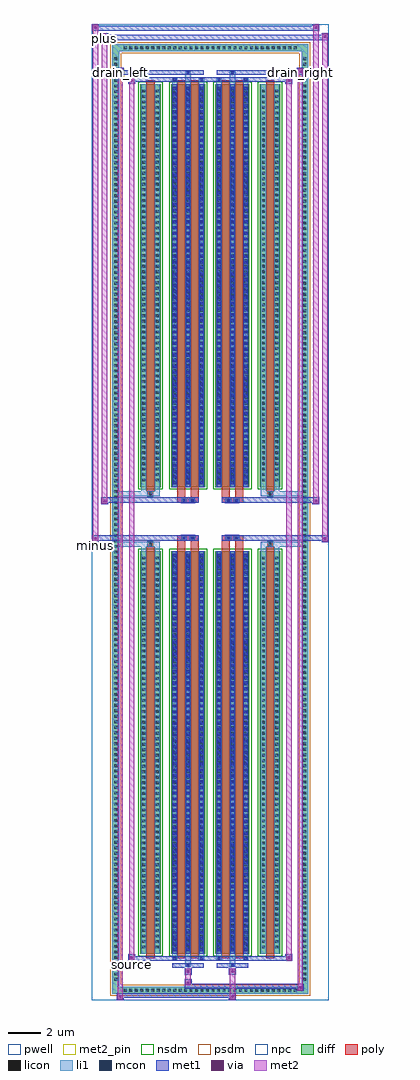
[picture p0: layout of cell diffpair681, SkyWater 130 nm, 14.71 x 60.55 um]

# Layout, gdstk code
import gdstk
lib = gdstk.Library(unit=1e-6, precision=5e-09)
def R(c, l, rs):  # rectangles x0, y0, x1, y1
    for r in rs: c.add(gdstk.rectangle(r[:2], r[2:], *l))
def A(c, l, x, y, w, h, nx, ny, dx, dy):  # array of equal rectangles
    R(c, l, [(x+i*dx, y+j*dy, x+i*dx+w, y+j*dy+h) for i in range(nx) for j in range(ny)])
def P(c, l, *ps):  # polygons
    for p in ps: c.add(gdstk.Polygon(p, *l))
pwell = (64, 44)
diff = (65, 20)
poly = (66, 20)
licon = (66, 44)
li1 = (67, 20)
mcon = (67, 44)
met1 = (68, 20)
via = (68, 44)
met2_pin = (69, 16)
met2 = (69, 20)
nsdm = (93, 44)
psdm = (94, 20)
npc = (95, 20)

diffpair681 = lib.new_cell('diffpair681')
R(diffpair681, pwell, [(-7.34,-29.84,7.34,30.71), (-4.66,-28.03,-0.01,-0.805), (0.01,-28.03,4.66,-0.805), (-4.66,0.805,-0.01,28.03), (0.01,0.805,4.66,28.03)])
A(diffpair681, diff, -5.475, -29.44, 0.41, 0.41, 32, 2, 0.34, 58.47)
A(diffpair681, diff, -6.07, -28.765, 0.41, 0.41, 1, 169, 0, 0.34)
A(diffpair681, diff, 5.66, -28.765, 0.41, 0.41, 1, 169, 0, 0.34)
R(diffpair681, diff, [(-5.475,-29.44,5.475,-29.03), (-6.07,-28.765,-5.66,28.765), (5.66,-28.765,6.07,28.765), (-4.35,-26.985,-3.07,-1.985), (-2.43,-26.985,-0.32,-1.985), (0.32,-26.985,2.43,-1.985), (3.07,-26.985,4.35,-1.985), (-4.35,1.985,-3.07,26.985), (-2.43,1.985,-0.32,26.985), (0.32,1.985,2.43,26.985), (3.07,1.985,4.35,26.985), (-5.475,29.03,5.475,29.44)])
P(diffpair681, diff, [(6.07,29.44),(-6.07,29.44),(-6.07,-29.03),(-5.66,-29.03),(-5.66,29.03),(5.66,29.03),(5.66,-29.03),(-5.66,-29.03),(-6.07,-29.03),(-6.07,-29.44),(6.07,-29.44)])
R(diffpair681, poly, [(-3.96,-27.235,-3.46,-1.735), (-2.04,-27.235,-1.54,-1.735), (-1.21,-27.235,-0.71,-1.735), (0.71,-27.235,1.21,-1.735), (1.54,-27.235,2.04,-1.735), (3.46,-27.235,3.96,-1.735), (-3.875,-1.735,-3.545,-1.405), (-3.875,-1.735,-3.545,-1.405), (-2.04,-1.735,-1.54,-1.335), (-1.21,-1.735,-0.71,-1.335), (0.71,-1.735,1.21,-1.335), (1.54,-1.735,2.04,-1.335), (3.545,-1.735,3.875,-1.405), (3.545,-1.735,3.875,-1.405), (-2.04,-1.335,-0.71,-1.005), (-1.79,-1.335,-1.46,-1.005), (-1.29,-1.335,-0.96,-1.005), (0.71,-1.335,2.04,-1.005), (0.96,-1.335,1.29,-1.005), (1.46,-1.335,1.79,-1.005), (-2.04,1.005,-0.71,1.335), (-1.79,1.005,-1.46,1.335), (-1.29,1.005,-0.96,1.335), (0.71,1.005,2.04,1.335), (0.96,1.005,1.29,1.335), (1.46,1.005,1.79,1.335), (-2.04,1.335,-1.54,1.735), (-1.21,1.335,-0.71,1.735), (0.71,1.335,1.21,1.735), (1.54,1.335,2.04,1.735), (-3.875,1.405,-3.545,1.735), (-3.875,1.405,-3.545,1.735), (3.545,1.405,3.875,1.735), (3.545,1.405,3.875,1.735), (-3.96,1.735,-3.46,27.235), (-2.04,1.735,-1.54,27.235), (-1.21,1.735,-0.71,27.235), (0.71,1.735,1.21,27.235), (1.54,1.735,2.04,27.235), (3.46,1.735,3.96,27.235)])
A(diffpair681, licon, -5.355, -29.32, 0.17, 0.17, 32, 2, 0.34, 58.47)
A(diffpair681, licon, -5.95, -28.645, 0.17, 0.17, 1, 169, 0, 0.34)
A(diffpair681, licon, 5.78, -28.645, 0.17, 0.17, 1, 169, 0, 0.34)
A(diffpair681, licon, -4.21, -26.64, 0.17, 0.17, 1, 72, 0, 0.34)
A(diffpair681, licon, -3.38, -26.64, 0.17, 0.17, 1, 72, 0, 0.34)
A(diffpair681, licon, -2.29, -26.64, 0.17, 0.17, 3, 72, 0.83, 0.34)
A(diffpair681, licon, 0.46, -26.64, 0.17, 0.17, 3, 72, 0.83, 0.34)
A(diffpair681, licon, 3.21, -26.64, 0.17, 0.17, 1, 72, 0, 0.34)
A(diffpair681, licon, 4.04, -26.64, 0.17, 0.17, 1, 72, 0, 0.34)
A(diffpair681, licon, -4.21, 2.33, 0.17, 0.17, 1, 72, 0, 0.34)
A(diffpair681, licon, -3.38, 2.33, 0.17, 0.17, 1, 72, 0, 0.34)
A(diffpair681, licon, -2.29, 2.33, 0.17, 0.17, 3, 72, 0.83, 0.34)
A(diffpair681, licon, 0.46, 2.33, 0.17, 0.17, 3, 72, 0.83, 0.34)
A(diffpair681, licon, 3.21, 2.33, 0.17, 0.17, 1, 72, 0, 0.34)
A(diffpair681, licon, 4.04, 2.33, 0.17, 0.17, 1, 72, 0, 0.34)
R(diffpair681, licon, [(-3.795,-1.655,-3.625,-1.485), (3.625,-1.655,3.795,-1.485), (-1.71,-1.255,-1.54,-1.085), (-1.21,-1.255,-1.04,-1.085), (1.04,-1.255,1.21,-1.085), (1.54,-1.255,1.71,-1.085), (-1.71,1.085,-1.54,1.255), (-1.21,1.085,-1.04,1.255), (1.04,1.085,1.21,1.255), (1.54,1.085,1.71,1.255), (-3.795,1.485,-3.625,1.655), (3.625,1.485,3.795,1.655)])
A(diffpair681, li1, -5.435, -29.4, 0.33, 0.33, 32, 2, 0.34, 58.47)
A(diffpair681, li1, -6.03, -28.725, 0.33, 0.33, 1, 169, 0, 0.34)
A(diffpair681, li1, 5.7, -28.725, 0.33, 0.33, 1, 169, 0, 0.34)
A(diffpair681, li1, -2.37, -26.985, 0.33, 25, 3, 2, 0.83, 28.97)
A(diffpair681, li1, 0.38, -26.985, 0.33, 25, 3, 2, 0.83, 28.97)
A(diffpair681, li1, -2.29, -26.81, 0.17, 0.17, 3, 69, 0.83, 0.36)
A(diffpair681, li1, -2.29, -26.81, 0.17, 24.65, 3, 2, 0.83, 28.97)
A(diffpair681, li1, 0.46, -26.81, 0.17, 0.17, 3, 69, 0.83, 0.36)
A(diffpair681, li1, 0.46, -26.81, 0.17, 24.65, 3, 2, 0.83, 28.97)
A(diffpair681, li1, -4.29, -26.72, 0.33, 0.33, 1, 72, 0, 0.34)
A(diffpair681, li1, -3.46, -26.72, 0.33, 0.33, 1, 72, 0, 0.34)
A(diffpair681, li1, -2.37, -26.72, 0.33, 0.33, 3, 72, 0.83, 0.34)
A(diffpair681, li1, 0.38, -26.72, 0.33, 0.33, 3, 72, 0.83, 0.34)
A(diffpair681, li1, 3.13, -26.72, 0.33, 0.33, 1, 72, 0, 0.34)
A(diffpair681, li1, 3.96, -26.72, 0.33, 0.33, 1, 72, 0, 0.34)
A(diffpair681, li1, -2.29, 2.16, 0.17, 0.17, 3, 69, 0.83, 0.36)
A(diffpair681, li1, 0.46, 2.16, 0.17, 0.17, 3, 69, 0.83, 0.36)
A(diffpair681, li1, -4.29, 2.25, 0.33, 0.33, 1, 72, 0, 0.34)
A(diffpair681, li1, -3.46, 2.25, 0.33, 0.33, 1, 72, 0, 0.34)
A(diffpair681, li1, -2.37, 2.25, 0.33, 0.33, 3, 72, 0.83, 0.34)
A(diffpair681, li1, 0.38, 2.25, 0.33, 0.33, 3, 72, 0.83, 0.34)
A(diffpair681, li1, 3.13, 2.25, 0.33, 0.33, 1, 72, 0, 0.34)
A(diffpair681, li1, 3.96, 2.25, 0.33, 0.33, 1, 72, 0, 0.34)
R(diffpair681, li1, [(-6.07,-29.44,-5.66,-29.03), (-6.07,-29.44,-5.66,-29.03), (-5.66,-29.44,5.66,-29.03), (5.66,-29.44,6.07,-29.03), (5.66,-29.44,6.07,-29.03), (-6.07,-29.03,-5.66,29.03), (5.66,-29.03,6.07,29.03), (-1.54,-27.79,-1.21,-26.985), (-1.46,-27.79,-1.29,-27.62), (1.21,-27.79,1.54,-26.985), (1.29,-27.79,1.46,-27.62), (-2.37,-27.36,-2.04,-26.985), (-2.29,-27.36,-2.12,-27.19), (-0.71,-27.36,-0.38,-26.985), (-0.63,-27.36,-0.46,-27.19), (0.38,-27.36,0.71,-26.985), (0.46,-27.36,0.63,-27.19), (2.04,-27.36,2.37,-26.985), (2.12,-27.36,2.29,-27.19), (-4.29,-26.985,-3.96,-1.985), (-3.46,-26.985,-3.13,-1.985), (3.13,-26.985,3.46,-1.985), (3.96,-26.985,4.29,-1.985), (-4.29,-1.985,-3.96,-1.405), (-3.46,-1.985,-3.13,-1.405), (3.13,-1.985,3.46,-1.405), (3.96,-1.985,4.29,-1.405), (-6.07,-1.735,-3.875,-1.405), (-4.29,-1.735,-3.875,-1.405), (-3.875,-1.735,-3.545,-1.405), (-3.545,-1.735,-3.13,-1.405), (3.13,-1.735,3.545,-1.405), (3.545,-1.735,3.875,-1.405), (3.545,-1.735,6.07,-1.405), (3.875,-1.735,4.29,-1.405), (-1.79,-1.335,-1.46,-1.005), (-1.29,-1.335,-0.96,-1.005), (0.96,-1.335,1.29,-1.005), (1.46,-1.335,1.79,-1.005), (-1.79,1.005,-1.46,1.335), (-1.29,1.005,-0.96,1.335), (0.96,1.005,1.29,1.335), (1.46,1.005,1.79,1.335), (-6.07,1.405,-3.875,1.735), (-4.29,1.405,-3.875,1.735), (-4.29,1.405,-3.96,1.985), (-3.875,1.405,-3.545,1.735), (-3.545,1.405,-3.13,1.735), (-3.46,1.405,-3.13,1.985), (3.13,1.405,3.545,1.735), (3.13,1.405,3.46,1.985), (3.545,1.405,3.875,1.735), (3.545,1.405,6.07,1.735), (3.875,1.405,4.29,1.735), (3.96,1.405,4.29,1.985), (-4.29,1.985,-3.96,26.985), (-3.46,1.985,-3.13,26.985), (3.13,1.985,3.46,26.985), (3.96,1.985,4.29,26.985), (-2.37,26.985,-2.04,27.36), (-1.54,26.985,-1.21,27.79), (-0.71,26.985,-0.38,27.36), (0.38,26.985,0.71,27.36), (1.21,26.985,1.54,27.79), (2.04,26.985,2.37,27.36), (-2.29,27.19,-2.12,27.36), (-0.63,27.19,-0.46,27.36), (0.46,27.19,0.63,27.36), (2.12,27.19,2.29,27.36), (-1.46,27.62,-1.29,27.79), (1.29,27.62,1.46,27.79), (-6.07,29.03,-5.66,29.44), (-6.07,29.03,-5.66,29.44), (-5.66,29.03,5.66,29.44), (5.66,29.03,6.07,29.44), (5.66,29.03,6.07,29.44)])
A(diffpair681, mcon, -2.29, -26.81, 0.17, 0.17, 3, 69, 0.83, 0.36)
A(diffpair681, mcon, 0.46, -26.81, 0.17, 0.17, 3, 69, 0.83, 0.36)
A(diffpair681, mcon, -2.29, 2.16, 0.17, 0.17, 3, 69, 0.83, 0.36)
A(diffpair681, mcon, 0.46, 2.16, 0.17, 0.17, 3, 69, 0.83, 0.36)
R(diffpair681, mcon, [(-1.46,-27.79,-1.29,-27.62), (1.29,-27.79,1.46,-27.62), (-2.29,-27.36,-2.12,-27.19), (-0.63,-27.36,-0.46,-27.19), (0.46,-27.36,0.63,-27.19), (2.12,-27.36,2.29,-27.19), (-1.71,-1.255,-1.54,-1.085), (-1.21,-1.255,-1.04,-1.085), (1.04,-1.255,1.21,-1.085), (1.54,-1.255,1.71,-1.085), (-1.71,1.085,-1.54,1.255), (-1.21,1.085,-1.04,1.255), (1.04,1.085,1.21,1.255), (1.54,1.085,1.71,1.255), (-2.29,27.19,-2.12,27.36), (-0.63,27.19,-0.46,27.36), (0.46,27.19,0.63,27.36), (2.12,27.19,2.29,27.36), (-1.46,27.62,-1.29,27.79), (1.29,27.62,1.46,27.79)])
A(diffpair681, met1, -2.35, -26.985, 0.29, 25, 3, 2, 0.83, 28.97)
A(diffpair681, met1, 0.4, -26.985, 0.29, 25, 3, 2, 0.83, 28.97)
A(diffpair681, met1, -2.35, -26.87, 0.29, 0.29, 3, 69, 0.83, 0.36)
A(diffpair681, met1, 0.4, -26.87, 0.29, 0.29, 3, 69, 0.83, 0.36)
A(diffpair681, met1, -2.35, 2.1, 0.29, 0.29, 3, 69, 0.83, 0.36)
A(diffpair681, met1, 0.4, 2.1, 0.29, 0.29, 3, 69, 0.83, 0.36)
R(diffpair681, met1, [(-5.8,-29.84,-5.37,-29.41), (1.16,-29.84,1.59,-29.41), (-5.8,-29.7,1.59,-29.41), (5.37,-29.27,5.8,-28.84), (-1.59,-29.13,5.8,-28.84), (-1.59,-28.99,-1.16,-28.56), (-1.59,-28.28,-1.16,-27.85), (1.16,-28.28,1.59,-27.85), (-2.35,-27.85,-0.4,-27.56), (-1.52,-27.85,-1.23,-27.56), (0.4,-27.85,2.35,-27.56), (1.23,-27.85,1.52,-27.56), (-5.09,-27.42,-4.66,-26.99), (-5.09,-27.42,-2.35,-27.13), (-2.35,-27.42,-2.06,-27.13), (-2.35,-27.42,-0.4,-27.13), (-0.69,-27.42,-0.4,-27.13), (-0.4,-27.42,0.4,-27.13), (0.4,-27.42,0.69,-27.13), (0.4,-27.42,2.35,-27.13), (2.06,-27.42,2.35,-27.13), (2.35,-27.42,5.09,-27.13), (4.66,-27.42,5.09,-26.99), (-7.34,-1.435,-6.91,-1.005), (6.91,-1.435,7.34,-1.005), (-7.34,-1.335,-0.71,-1.005), (-2.04,-1.335,-0.71,-1.005), (0.71,-1.335,2.04,-1.005), (0.71,-1.335,7.34,-1.005), (-1.77,-1.315,-1.48,-1.025), (-1.27,-1.315,-0.98,-1.025), (0.98,-1.315,1.27,-1.025), (1.48,-1.315,1.77,-1.025), (-6.77,0.905,-6.34,1.335), (6.34,0.905,6.77,1.335), (-6.77,1.005,-2.04,1.335), (-2.04,1.005,-0.71,1.335), (0.71,1.005,2.04,1.335), (2.04,1.005,6.77,1.335), (-1.77,1.025,-1.48,1.315), (-1.27,1.025,-0.98,1.315), (0.98,1.025,1.27,1.315), (1.48,1.025,1.77,1.315), (-5.09,26.99,-4.66,27.42), (4.66,26.99,5.09,27.42), (-5.09,27.13,-2.35,27.42), (-2.35,27.13,-2.06,27.42), (-2.35,27.13,-0.4,27.42), (-0.69,27.13,-0.4,27.42), (-0.4,27.13,0.4,27.42), (0.4,27.13,0.69,27.42), (0.4,27.13,2.35,27.42), (2.06,27.13,2.35,27.42), (2.35,27.13,5.09,27.42), (-5.8,27.56,-5.37,27.99), (-5.8,27.56,-2.35,27.85), (-2.35,27.56,-0.4,27.85), (-1.52,27.56,-1.23,27.85), (0.4,27.56,2.35,27.85), (1.23,27.56,1.52,27.85), (2.35,27.56,5.8,27.85), (5.37,27.56,5.8,27.99), (-6.77,29.71,-6.34,30.14), (-6.77,29.71,-4.66,30.04), (-4.66,29.71,4.66,30.04), (4.66,29.71,7.34,30.04), (6.91,29.71,7.34,30.14), (-7.34,30.28,-6.91,30.71), (-7.34,30.28,-4.66,30.61), (-4.66,30.28,4.66,30.61), (4.66,30.28,6.77,30.61), (6.34,30.28,6.77,30.71)])
R(diffpair681, via, [(-5.66,-29.7,-5.51,-29.55), (1.3,-29.7,1.45,-29.55), (5.51,-29.13,5.66,-28.98), (-1.45,-28.85,-1.3,-28.7), (-1.45,-28.14,-1.3,-27.99), (1.3,-28.14,1.45,-27.99), (-4.95,-27.28,-4.8,-27.13), (4.8,-27.28,4.95,-27.13), (-7.2,-1.295,-7.05,-1.145), (7.05,-1.295,7.2,-1.145), (-6.63,1.045,-6.48,1.195), (6.48,1.045,6.63,1.195), (-4.95,27.13,-4.8,27.28), (4.8,27.13,4.95,27.28), (-5.66,27.7,-5.51,27.85), (5.51,27.7,5.66,27.85), (-6.63,29.85,-6.48,30), (7.05,29.85,7.2,30), (-7.2,30.42,-7.05,30.57), (6.48,30.42,6.63,30.57)])
R(diffpair681, met2_pin, [(-5.125,-27.87,-4.625,-27.37), (-7.375,-1.885,-6.875,-1.385), (-5.835,27.44,-5.335,27.94), (5.335,27.44,5.835,27.94), (-6.805,29.59,-6.305,30.09)])
R(diffpair681, met2, [(-5.75,-29.79,-5.42,-29.46), (-5.75,-29.79,-5.42,27.94), (1.21,-29.79,1.54,-29.46), (1.21,-29.46,1.54,-28.23), (5.42,-29.22,5.75,-28.89), (5.42,-29.22,5.75,27.94), (-1.54,-28.94,-1.21,-28.61), (-1.54,-28.61,-1.21,-28.23), (-1.54,-28.23,-1.21,-27.9), (1.21,-28.23,1.54,-27.9), (-5.04,-27.37,-4.71,-27.04), (-5.04,-27.37,-4.71,27.37), (4.71,-27.37,5.04,-27.04), (4.71,-27.37,5.04,27.37), (-7.29,-1.385,-6.96,-1.055), (-7.29,-1.385,-6.96,30.66), (6.96,-1.385,7.29,-1.055), (6.96,-1.385,7.29,30.09), (-6.72,0.955,-6.39,1.285), (-6.72,0.955,-6.39,30.09), (6.39,0.955,6.72,1.285), (6.39,0.955,6.72,30.66), (-5.04,27.04,-4.71,27.37), (4.71,27.04,5.04,27.37), (-5.75,27.61,-5.42,27.94), (5.42,27.61,5.75,27.94), (-6.72,29.76,-6.39,30.09), (6.96,29.76,7.29,30.09), (-7.29,30.33,-6.96,30.66), (6.39,30.33,6.72,30.66)])
P(diffpair681, met2, [(7.29,-1.385),(7.29,-1.385),(7.29,-1.055),(7.29,-1.055)],
  [(7.29,29.76),(7.29,29.76),(7.29,30.09),(7.29,30.09)],
  [(-6.96,-1.385),(-6.96,-1.385),(-6.96,-1.055),(-6.96,-1.055)],
  [(-6.96,30.33),(-6.96,30.33),(-6.96,30.66),(-6.96,30.66)],
  [(6.72,0.955),(6.72,0.955),(6.72,1.285),(6.72,1.285)],
  [(6.72,30.33),(6.72,30.33),(6.72,30.66),(6.72,30.66)],
  [(-6.39,0.955),(-6.39,0.955),(-6.39,1.285),(-6.39,1.285)],
  [(-6.39,29.76),(-6.39,29.76),(-6.39,30.09),(-6.39,30.09)],
  [(-5.42,-29.79),(-5.42,-29.79),(-5.42,-29.46),(-5.42,-29.46)],
  [(-5.42,27.61),(-5.42,27.61),(-5.42,27.94),(-5.42,27.94)],
  [(5.75,-29.22),(5.75,-29.22),(5.75,-28.89),(5.75,-28.89)],
  [(5.75,27.61),(5.75,27.61),(5.75,27.94),(5.75,27.94)],
  [(-4.71,-27.37),(-4.71,-27.37),(-4.71,-27.04),(-4.71,-27.04)],
  [(-4.71,27.04),(-4.71,27.04),(-4.71,27.37),(-4.71,27.37)],
  [(5.04,-27.37),(5.04,-27.37),(5.04,-27.04),(5.04,-27.04)],
  [(5.04,27.04),(5.04,27.04),(5.04,27.37),(5.04,27.37)])
R(diffpair681, nsdm, [(-4.48,-27.115,-2.94,-1.855), (-2.56,-27.115,-0.19,-1.855), (0.19,-27.115,2.56,-1.855), (2.94,-27.115,4.48,-1.855), (-4.48,1.855,-2.94,27.115), (-2.56,1.855,-0.19,27.115), (0.19,1.855,2.56,27.115), (2.94,1.855,4.48,27.115)])
P(diffpair681, psdm, [(6.2,29.57),(-6.2,29.57),(-6.2,-28.9),(-5.53,-28.9),(-5.53,28.9),(5.53,28.9),(5.53,-28.9),(-5.53,-28.9),(-6.2,-28.9),(-6.2,-29.57),(6.2,-29.57)])
R(diffpair681, npc, [(-3.895,-1.755,-3.525,-1.385), (3.525,-1.755,3.895,-1.385), (-1.81,-1.355,-1.44,-0.985), (-1.81,-1.355,-0.94,-0.985), (-1.81,-1.355,-0.94,-0.985), (-1.31,-1.355,-0.94,-0.985), (0.94,-1.355,1.31,-0.985), (0.94,-1.355,1.81,-0.985), (0.94,-1.355,1.81,-0.985), (1.44,-1.355,1.81,-0.985), (-1.81,0.985,-1.44,1.355), (-1.81,0.985,-0.94,1.355), (-1.81,0.985,-0.94,1.355), (-1.31,0.985,-0.94,1.355), (0.94,0.985,1.31,1.355), (0.94,0.985,1.81,1.355), (0.94,0.985,1.81,1.355), (1.44,0.985,1.81,1.355), (-3.895,1.385,-3.525,1.755), (3.525,1.385,3.895,1.755)])
diffpair681.add(gdstk.Label('minus', (-7.125,-1.635), layer=69, texttype=5))
diffpair681.add(gdstk.Label('drain_right', (5.585,27.69), layer=69, texttype=5))
diffpair681.add(gdstk.Label('drain_left', (-5.585,27.69), layer=69, texttype=5))
diffpair681.add(gdstk.Label('source', (-4.875,-27.62), layer=69, texttype=5))
diffpair681.add(gdstk.Label('plus', (-6.555,29.84), layer=69, texttype=5))

lib.write_gds('diffpair681.gds')
